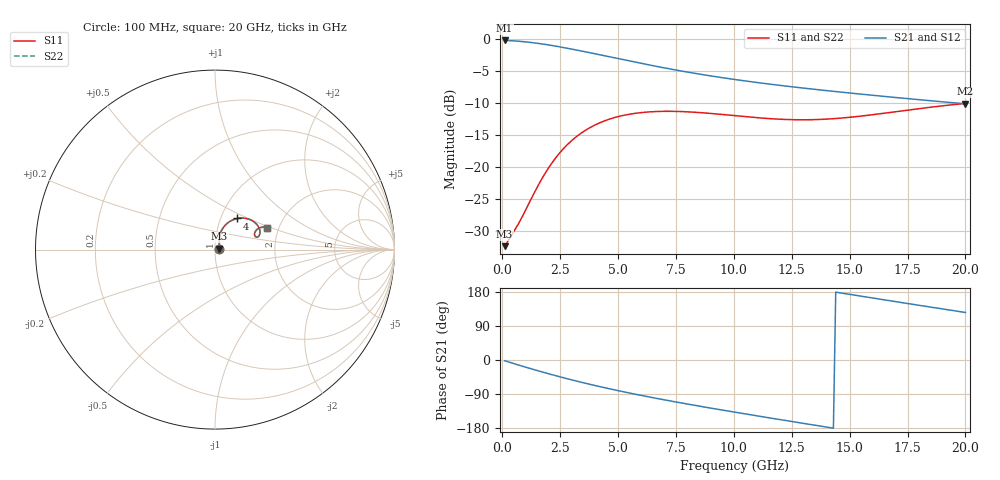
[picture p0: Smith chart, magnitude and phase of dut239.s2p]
! Touchstone file exported from HFSS 2024.1.0
!  File:  C:/UserFiles/LocalFiles/RDL_TSV_Batchsim/temp_RDL_TSV_239_1779453273.aedt
!  Generated:  08:54:06 PM May 22, 2026
!  Design:  RDL_TSV
!  Project:  temp_RDL_TSV_239_1779453273
!  Setup:  Setup1
!  Solution:  Sweep
! Variables:
!  dtsv = 9.84um
!  hbump = 3um
!  htsv = 74.32um
!  ldown = 575.95um
!  lrdl = 427.15um
!  p = 40
!  p1 = 40.26um
!  rhole = 10um
!  subl = 3436.45um
!  t = 450um
!  tdown = 3.42um
!  trdl = 4.35um
!  viad = 10um
!  wdown = 10.31um
!  wrdl = 21.79um
!  xbump = 18um
# GHz S MA R 50.000000
! Terminal data exported
! Port[1] = TM1_1_T1
! Port[2] = TM1_4_T1
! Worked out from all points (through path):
!   200 points, 100 MHz to 20 GHz, reference 50 ohm
!   highest |S21| = -0.21 dB at 100 MHz (marker M1); lowest = -10.1 dB at 20 GHz (marker M2)
!   group delay of S21, straight-line fit = 30.9 ps
!   lowest |S11| = -32.3 dB at 100 MHz (marker M3), VSWR 1.05, Z = 52.4 + j0.459 ohm
!   |S11| at or under -10 dB: start of sweep to end of sweep
!   |S22| runs from -32.3 to -10.0 dB; largest |S21 - S12| = 1.5e-14
!   S11 on the Smith chart (normalised r, x): 100 MHz: 1.05, +0.01; 4 GHz: 1.20, +0.44; 20 GHz: 1.74, +0.47
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0.1  0.02428 10.4  0.9758 -2.0  0.9758 -2.0  0.02428 10.4
! Gamma 0 0 0 0
! Port Impedance 50 0 50 0
0.5  0.03157 37.7  0.9685 -9.6  0.9685 -9.6  0.03157 37.7
0.9  0.04242 56.0  0.9559 -17.0  0.9559 -17.0  0.04242 56.0
1.4  0.06422 68.6  0.9336 -26.0  0.9336 -26.0  0.06422 68.6
1.8  0.08684 71.7  0.9119 -32.9  0.9119 -32.9  0.08685 71.7
2.2  0.1118 71.2  0.8878 -39.7  0.8878 -39.7  0.1118 71.2
2.6  0.1373 68.6  0.8621 -46.2  0.8621 -46.2  0.1373 68.6
3  0.1618 64.9  0.8355 -52.5  0.8355 -52.5  0.1619 65.0
3.5  0.1898 59.7  0.8018 -60.1  0.8018 -60.1  0.1899 59.7
4  0.2137 54.2  0.7683 -67.3  0.7683 -67.3  0.2139 54.3
4.7  0.2399 46.9  0.7229 -76.9  0.7229 -76.9  0.2401 46.9
5.4  0.2578 40.2  0.6803 -86.0  0.6803 -86.0  0.258 40.2
6.8  0.273 29.2  0.6056 -102.9  0.6056 -102.9  0.2733 29.2
7.6  0.2727 24.5  0.5694 -111.9  0.5694 -111.9  0.273 24.5
8.4  0.2683 20.8  0.5376 -120.6  0.5376 -120.6  0.2686 20.9
10.1  0.2523 16.8  0.4824 -138.3  0.4824 -138.3  0.2527 16.8
11.7  0.2388 17.2  0.4419 -154.3  0.4419 -154.3  0.2392 17.2
13.4  0.2353 20.6  0.4073 -171.1  0.4073 -171.1  0.2357 20.5
15  0.2455 24.1  0.3798 173.2  0.3798 173.2  0.2459 24.0
16.7  0.2671 25.9  0.3543 156.7  0.3543 156.7  0.2675 25.8
18.4  0.2928 25.3  0.3317 140.5  0.3317 140.5  0.2931 25.2
20  0.315 23.0  0.3128 125.4  0.3128 125.4  0.3153 22.9
